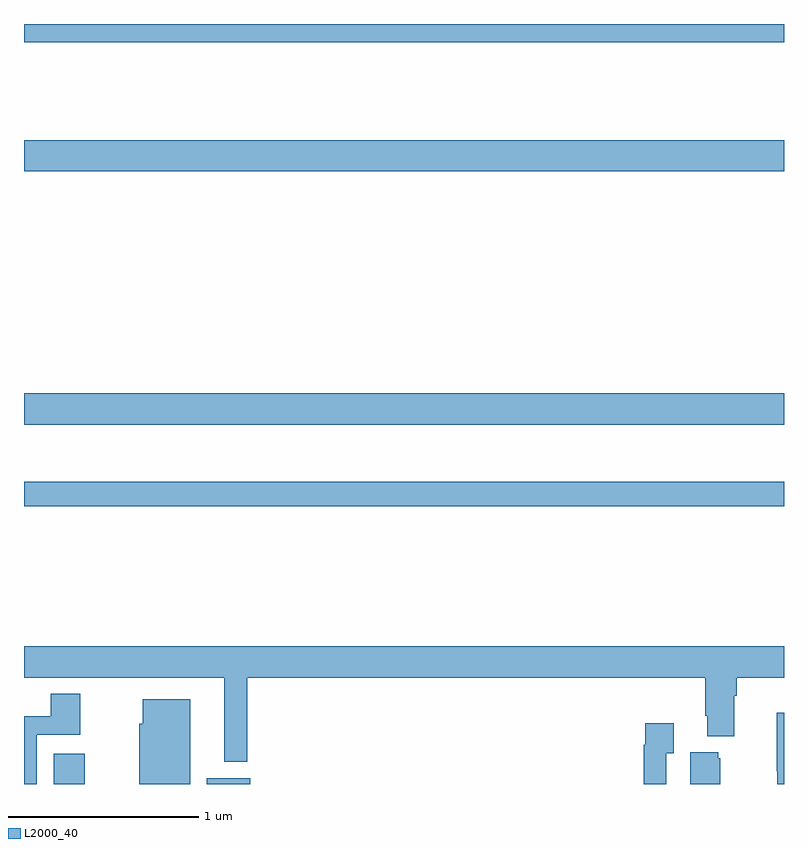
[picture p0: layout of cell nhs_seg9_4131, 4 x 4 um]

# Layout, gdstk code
import gdstk
lib = gdstk.Library(unit=1e-6, precision=1e-09)
def R(c, l, rs):  # rectangles x0, y0, x1, y1
    for r in rs: c.add(gdstk.rectangle(r[:2], r[2:], *l))
def P(c, l, *ps):  # polygons
    for p in ps: c.add(gdstk.Polygon(p, *l))
L2000_40 = (2000, 40)

nhs_seg9_4131 = lib.new_cell('nhs_seg9_4131')
R(nhs_seg9_4131, L2000_40, [(347.156,1222.5,347.32,1222.66), (347.963,1222.5,348.19,1222.531), (347,1223.962,351,1224.091), (347,1224.392,351,1224.556), (347,1225.724,351,1225.888), (347,1226.404,351,1226.5)])
P(nhs_seg9_4131, L2000_40, [(347,1223.06),(348.053,1223.06),(348.053,1222.616),(348.175,1222.616),(348.175,1223.06),(350.585,1223.06),(350.585,1222.858),(350.597,1222.858),(350.597,1222.751),(350.737,1222.751),(350.737,1222.964),(350.75,1222.964),(350.75,1223.06),(351,1223.06),(351,1223.224),(347,1223.224)],
  [(347.067,1222.758),(347.295,1222.758),(347.295,1222.975),(347.14,1222.975),(347.14,1222.856),(347,1222.856),(347,1222.5),(347.067,1222.5)],
  [(347.875,1222.945),(347.624,1222.945),(347.624,1222.818),(347.606,1222.818),(347.606,1222.5),(347.875,1222.5)],
  [(351,1222.874),(350.962,1222.874),(350.962,1222.567),(350.964,1222.567),(350.964,1222.5),(351,1222.5)],
  [(350.379,1222.663),(350.419,1222.663),(350.419,1222.819),(350.271,1222.819),(350.271,1222.706),(350.263,1222.706),(350.263,1222.5),(350.379,1222.5)],
  [(350.665,1222.635),(350.654,1222.635),(350.654,1222.666),(350.507,1222.666),(350.507,1222.5),(350.665,1222.5)])

lib.write_gds('nhs_seg9_4131.gds')
